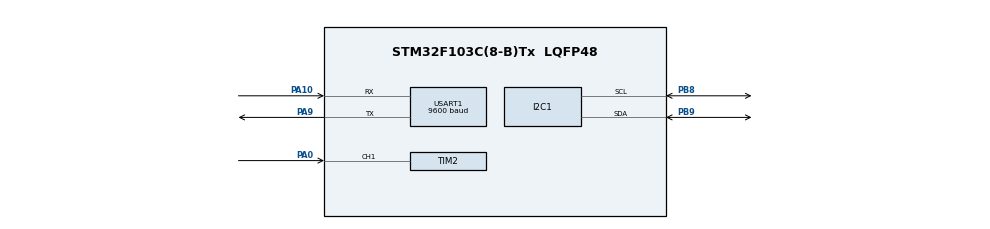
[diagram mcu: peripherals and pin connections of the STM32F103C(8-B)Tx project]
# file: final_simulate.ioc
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Mcu.Family=STM32F1
Mcu.Name=STM32F103C(8-B)Tx
Mcu.Package=LQFP48
NVIC.PriorityGroup=NVIC_PRIORITYGROUP_4
NVIC.TIM2_IRQn=true\:0\:0\:false\:false\:true\:true\:true\:true
PA0-WKUP.Signal=S_TIM2_CH1_ETR
PA10.Mode=Asynchronous
PA10.Signal=USART1_RX
PA13.Mode=Serial_Wire
PA13.Signal=SYS_JTMS-SWDIO
PA14.Mode=Serial_Wire
PA14.Signal=SYS_JTCK-SWCLK
PA9.Mode=Asynchronous
PA9.Signal=USART1_TX
PB8.Mode=I2C
PB8.Signal=I2C1_SCL
PB9.Mode=I2C
PB9.Signal=I2C1_SDA
PD0-OSC_IN.Mode=HSE-External-Oscillator
PD0-OSC_IN.Signal=RCC_OSC_IN
PD1-OSC_OUT.Mode=HSE-External-Oscillator
PD1-OSC_OUT.Signal=RCC_OSC_OUT
ProjectManager.HeapSize=0x200
ProjectManager.StackSize=0x400
ProjectManager.TargetToolchain=MDK-ARM V5.32
RCC.APB1Freq_Value=8000000
RCC.APB2Freq_Value=8000000
SH.S_TIM2_CH1_ETR.0=TIM2_CH1,Input_Capture1_from_TI1
TIM2.Channel-Input_Capture1_from_TI1=TIM_CHANNEL_1
TIM2.ICPolarity_CH1=TIM_INPUTCHANNELPOLARITY_FALLING
TIM2.Prescaler=799
USART1.BaudRate=9600
USART1.VirtualMode=VM_ASYNC
board=custom

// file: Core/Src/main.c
/* USER CODE BEGIN Header */
/**
  ******************************************************************************
  * @file           : main.c
  * @brief          : Main program body
  ******************************************************************************
  * @attention
  *
  * Copyright (c) 2025 STMicroelectronics.
  * All rights reserved.
  *
  * This software is licensed under terms that can be found in the LICENSE file
  * in the root directory of this software component.
  * If no LICENSE file comes with this software, it is provided AS-IS.
  *
  ******************************************************************************
  */
/* USER CODE END Header */
#include "main.h"

/* USER CODE BEGIN Includes */
#include "CLCD_I2C.h"
#include <stdio.h>
#include <string.h>
/* USER CODE END Includes */

I2C_HandleTypeDef hi2c1;

TIM_HandleTypeDef htim2;

UART_HandleTypeDef huart1;

/* USER CODE BEGIN PV */
CLCD_I2C_Name LCD1;
uint8_t key = 0;
char LCD_send[16];
char status[10];

uint8_t rx_data;          // D? li?u nh?n 1 byte
uint8_t rx_flag = 0;      // C? b?o d? nh?n du?c d? li?u
float sensor_value = 0;   // Gi? tr? d? li?u thay d?i (v? d? c?m bi?n)
float last_value = 0;     // Luu gi? tr? cu d? so s?nh
char tx_buffer[50];       // B? d?m truy?n UART
/* USER CODE END PV */

void SystemClock_Config(void);
static void MX_GPIO_Init(void);
static void MX_I2C1_Init(void);
static void MX_TIM2_Init(void);
static void MX_USART1_UART_Init(void);
/* USER CODE BEGIN PFP */
#define START_MIN_TIME 130
#define START_MAX_TIME 140
#define COMMAND        17

uint16_t time_pre = 0;
uint16_t time_current = 0;
uint16_t period = 0;
uint8_t count = 0;
uint32_t bit = 0;
uint32_t hex_ir = 0;
/* USER CODE END PFP */

/* USER CODE BEGIN 0 */
static void uart_print(const char *s)
{
  HAL_UART_Transmit(&huart1, (uint8_t*)s, strlen(s), 1000);
}

void I2C_Scan(void)
{
  char buf[64];
  uart_print("\r\nI2C Scanner\r\nScanning...\r\n");

  int nDevices = 0;

  // I2C 7-bit valid range is typically 0x08..0x77
  for (uint8_t addr7 = 0x08; addr7 < 0x77; addr7++)
  {
    // HAL expects 8-bit address (7-bit << 1)
    uint16_t addr8 = (uint16_t)(addr7 << 1);

    // 1 or 2 trials is enough
    if (HAL_I2C_IsDeviceReady(&hi2c1, addr8, 2, 10) == HAL_OK)
    {
      snprintf(buf, sizeof(buf), "I2C device found at 0x%02X !\r\n", addr7);
      uart_print(buf);
      nDevices++;
    }
  }

  if (nDevices == 0) uart_print("No I2C devices found\r\n");
  else uart_print("done\r\n");
}

/* USER CODE END 0 */

int main(void)
{

  /* MCU Configuration--------------------------------------------------------*/

  /* Reset of all peripherals, Initializes the Flash interface and the Systick. */
  HAL_Init();

  /* Configure the system clock */
  SystemClock_Config();

  /* Initialize all configured peripherals */
  MX_GPIO_Init();
  MX_I2C1_Init();
  MX_TIM2_Init();
  MX_USART1_UART_Init();
  /* USER CODE BEGIN 2 */
HAL_TIM_IC_Start_IT(&htim2, TIM_CHANNEL_1);
//CLCD_I2C_Init(&LCD1, &hi2c1,0x27<<1, 20, 4);

	//HAL_UART_Transmit(&huart1, (uint8_t *)"UART started\r\n", 13, 1000);
	 I2C_Scan();
   HAL_Delay(500);

  /* USER CODE END 2 */

  /* Infinite loop */
  while (1)
  {

    /* USER CODE BEGIN 3 */

//		CLCD_I2C_SetCursor(&LCD1, 0, 0);
//		CLCD_I2C_WriteString(&LCD1, "Diep Van Du");
//
//		CLCD_I2C_SetCursor(&LCD1, 0, 1);
//		sprintf(LCD_send, "So phim: %d",key);
//		if(hex_ir != 0){
//			//memset(status, 0, sizeof(status));
//		  switch(hex_ir){
//		     case 66961470: key = 0; break;
//			   case 66888030: key = 1; break;
//			   case 66957390: key = 2; break;
//         case 66973710: key = 3; break;
//			   case 66871710: key = 4; break;
//			   case 66936990: key = 5; break;
//			   case 66904350: key = 6; break;
//			   case 66847230: key = 7; break;
//			   case 66969630: key = 8; break;
//			   case 66924750: key = 9; break;
//			   default: key = 0; break;
//		}
//		    CLCD_I2C_SetCursor(&LCD1, 0, 1);
//       //CLCD_WriteString(&LCD1, "                "); // clear line
//		   sprintf(LCD_send, "So phim: %d",key);
//  }
//  sprintf(tx_buffer, "IR Code: %d \r\n", hex_ir);
////  HAL_UART_Transmit(&huart1, (uint8_t *)tx_buffer, strlen(tx_buffer), 1000);
//	HAL_Delay(100);
  }
  /* USER CODE END 3 */
}

void SystemClock_Config(void)
{
  RCC_OscInitTypeDef RCC_OscInitStruct = {0};
  RCC_ClkInitTypeDef RCC_ClkInitStruct = {0};

  /** Initializes the RCC Oscillators according to the specified parameters
  * in the RCC_OscInitTypeDef structure.
  */
  RCC_OscInitStruct.OscillatorType = RCC_OSCILLATORTYPE_HSI;
  RCC_OscInitStruct.HSIState = RCC_HSI_ON;
  RCC_OscInitStruct.HSICalibrationValue = RCC_HSICALIBRATION_DEFAULT;
  RCC_OscInitStruct.PLL.PLLState = RCC_PLL_NONE;
  if (HAL_RCC_OscConfig(&RCC_OscInitStruct) != HAL_OK)
  {
    Error_Handler();
  }

  /** Initializes the CPU, AHB and APB buses clocks
  */
  RCC_ClkInitStruct.ClockType = RCC_CLOCKTYPE_HCLK|RCC_CLOCKTYPE_SYSCLK
                              |RCC_CLOCKTYPE_PCLK1|RCC_CLOCKTYPE_PCLK2;
  RCC_ClkInitStruct.SYSCLKSource = RCC_SYSCLKSOURCE_HSI;
  RCC_ClkInitStruct.AHBCLKDivider = RCC_SYSCLK_DIV1;
  RCC_ClkInitStruct.APB1CLKDivider = RCC_HCLK_DIV1;
  RCC_ClkInitStruct.APB2CLKDivider = RCC_HCLK_DIV1;

  if (HAL_RCC_ClockConfig(&RCC_ClkInitStruct, FLASH_LATENCY_0) != HAL_OK)
  {
    Error_Handler();
  }
}

static void MX_I2C1_Init(void)
{

  hi2c1.Instance = I2C1;
  hi2c1.Init.ClockSpeed = 100000;
  hi2c1.Init.DutyCycle = I2C_DUTYCYCLE_2;
  hi2c1.Init.OwnAddress1 = 0;
  hi2c1.Init.AddressingMode = I2C_ADDRESSINGMODE_7BIT;
  hi2c1.Init.DualAddressMode = I2C_DUALADDRESS_DISABLE;
  hi2c1.Init.OwnAddress2 = 0;
  hi2c1.Init.GeneralCallMode = I2C_GENERALCALL_DISABLE;
  hi2c1.Init.NoStretchMode = I2C_NOSTRETCH_DISABLE;
  if (HAL_I2C_Init(&hi2c1) != HAL_OK)
  {
    Error_Handler();
  }

}

static void MX_TIM2_Init(void)
{

  TIM_MasterConfigTypeDef sMasterConfig = {0};
  TIM_IC_InitTypeDef sConfigIC = {0};

  htim2.Instance = TIM2;
  htim2.Init.Prescaler = 799;
  htim2.Init.CounterMode = TIM_COUNTERMODE_UP;
  htim2.Init.Period = 65535;
  htim2.Init.ClockDivision = TIM_CLOCKDIVISION_DIV1;
  htim2.Init.AutoReloadPreload = TIM_AUTORELOAD_PRELOAD_DISABLE;
  if (HAL_TIM_IC_Init(&htim2) != HAL_OK)
  {
    Error_Handler();
  }
  sMasterConfig.MasterOutputTrigger = TIM_TRGO_RESET;
  sMasterConfig.MasterSlaveMode = TIM_MASTERSLAVEMODE_DISABLE;
  if (HAL_TIMEx_MasterConfigSynchronization(&htim2, &sMasterConfig) != HAL_OK)
  {
    Error_Handler();
  }
  sConfigIC.ICPolarity = TIM_INPUTCHANNELPOLARITY_FALLING;
  sConfigIC.ICSelection = TIM_ICSELECTION_DIRECTTI;
  sConfigIC.ICPrescaler = TIM_ICPSC_DIV1;
  sConfigIC.ICFilter = 0;
  if (HAL_TIM_IC_ConfigChannel(&htim2, &sConfigIC, TIM_CHANNEL_1) != HAL_OK)
  {
    Error_Handler();
  }

}

static void MX_USART1_UART_Init(void)
{

  huart1.Instance = USART1;
  huart1.Init.BaudRate = 9600;
  huart1.Init.WordLength = UART_WORDLENGTH_8B;
  huart1.Init.StopBits = UART_STOPBITS_1;
  huart1.Init.Parity = UART_PARITY_NONE;
  huart1.Init.Mode = UART_MODE_TX_RX;
  huart1.Init.HwFlowCtl = UART_HWCONTROL_NONE;
  huart1.Init.OverSampling = UART_OVERSAMPLING_16;
  if (HAL_UART_Init(&huart1) != HAL_OK)
  {
    Error_Handler();
  }

}

static void MX_GPIO_Init(void)
{

  /* GPIO Ports Clock Enable */
  __HAL_RCC_GPIOD_CLK_ENABLE();
  __HAL_RCC_GPIOA_CLK_ENABLE();
  __HAL_RCC_GPIOB_CLK_ENABLE();

}

/* USER CODE BEGIN 4 */
void HAL_TIM_IC_CaptureCallback(TIM_HandleTypeDef *htim){
  time_current = HAL_TIM_ReadCapturedValue(&htim2, TIM_CHANNEL_1);
	period = time_current - time_pre;
	time_pre = time_current;
	if(period > START_MIN_TIME && period < START_MAX_TIME){
	  hex_ir = 0;
		count = 0;
		bit = 0;
	}
	else if(period > COMMAND){
	  bit = bit | 0x01;
		bit = bit << 1;
		count++;
	}
	else if(period < COMMAND){
	  bit = bit << 1;
		count++;
	}
	if(count == 32){
	  hex_ir =  bit;
	}
}
/* USER CODE END 4 */

void Error_Handler(void)
{
  __disable_irq();
  while (1)
  {
  }
}
